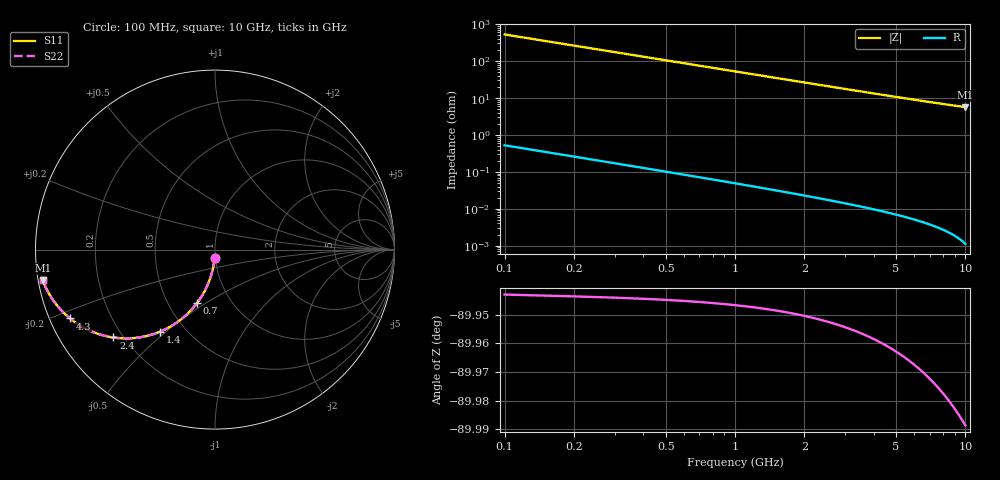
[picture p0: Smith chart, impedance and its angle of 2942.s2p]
# Hz S RI R 50.00
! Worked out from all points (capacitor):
!   100 points, 100 MHz to 10 GHz, reference 50 ohm
!   read as one part in shunt: C = 3.02 pF near 100 MHz
!   lowest |Z| = 5.67 ohm at 10 GHz (marker M1)
!   S11 on the Smith chart (normalised r, x): 100 MHz: 0.99, -0.09; 700 MHz: 0.69, -0.46; 1.4 GHz: 0.36, -0.48; 2.4 GHz: 0.16, -0.36; 4.3 GHz: 0.06, -0.22; 10 GHz: 0.01, -0.09
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1e8  -0.00211 -0.0472  0.9975 -0.0476  0.9975 -0.0476  -0.00211 -0.0472
2e8  -0.00885 -0.0937  0.9908 -0.0946  0.9908 -0.0946  -0.00885 -0.0937
3e8  -0.0199 -0.139  0.9798 -0.1403  0.9798 -0.1403  -0.0199 -0.139
4e8  -0.0348 -0.1825  0.9648 -0.1842  0.9648 -0.1842  -0.0348 -0.1825
5e8  -0.0534 -0.2236  0.9462 -0.2259  0.9462 -0.2259  -0.0534 -0.2236
6e8  -0.0752 -0.2622  0.9244 -0.2648  0.9244 -0.2648  -0.0752 -0.2622
7e8  -0.0997 -0.2977  0.9 -0.3008  0.9 -0.3008  -0.0997 -0.2977
8e8  -0.1263 -0.3301  0.8733 -0.3337  0.8733 -0.3337  -0.1263 -0.3301
1e9  -0.1843 -0.3851  0.8153 -0.3896  0.8153 -0.3896  -0.1843 -0.3851
1.2e9  -0.2455 -0.4273  0.7541 -0.4326  0.7541 -0.4326  -0.2455 -0.4273
1.4e9  -0.3069 -0.4577  0.6927 -0.4639  0.6927 -0.4639  -0.3069 -0.4577
1.8e9  -0.4227 -0.4895  0.5769 -0.4975  0.5769 -0.4975  -0.4227 -0.4895
2.1e9  -0.4993 -0.4948  0.5003 -0.5042  0.5003 -0.5042  -0.4993 -0.4948
2.4e9  -0.5658 -0.4897  0.4338 -0.5005  0.4338 -0.5005  -0.5658 -0.4897
2.9e9  -0.6557 -0.468  0.3438 -0.481  0.3438 -0.481  -0.6557 -0.468
3.4e9  -0.7239 -0.4388  0.2756 -0.454  0.2756 -0.454  -0.7239 -0.4388
3.8e9  -0.7663 -0.4139  0.2331 -0.431  0.2331 -0.431  -0.7663 -0.4139
4.3e9  -0.808 -0.3834  0.1915 -0.4028  0.1915 -0.4028  -0.808 -0.3834
5.1e9  -0.8559 -0.3388  0.1434 -0.3618  0.1434 -0.3618  -0.8559 -0.3388
6.7e9  -0.9118 -0.267  0.0873 -0.2975  0.0873 -0.2975  -0.9118 -0.267
8.4e9  -0.9426 -0.2114  0.0562 -0.2501  0.0562 -0.2501  -0.9426 -0.2114
1e10  -0.9592 -0.1719  0.0392 -0.2185  0.0392 -0.2185  -0.9592 -0.1719
